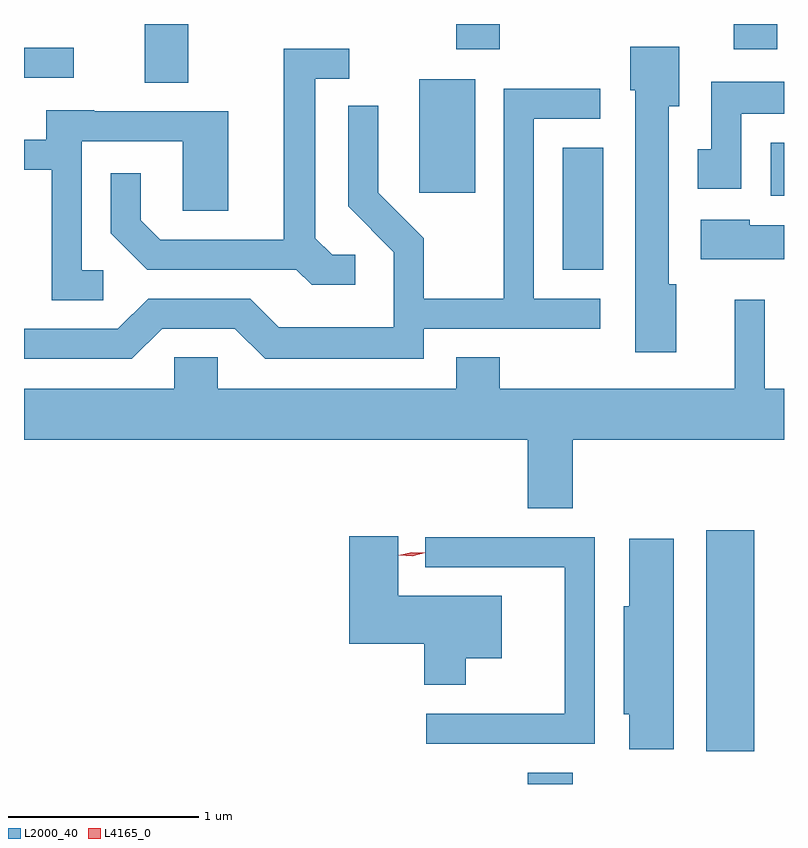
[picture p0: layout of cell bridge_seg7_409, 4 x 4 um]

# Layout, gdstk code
import gdstk
lib = gdstk.Library(unit=1e-6, precision=1e-09)
def R(c, l, rs):  # rectangles x0, y0, x1, y1
    for r in rs: c.add(gdstk.rectangle(r[:2], r[2:], *l))
def P(c, l, *ps):  # polygons
    for p in ps: c.add(gdstk.Polygon(p, *l))
L2000_40 = (2000, 40)
L4165_0 = (4165, 0)

bridge_seg7_409 = lib.new_cell('bridge_seg7_409')
R(bridge_seg7_409, L2000_40, [(1097.176,1716.944,1097.414,1717.004), (1098.116,1717.116,1098.369,1718.279), (1097.361,1719.651,1097.574,1720.294), (1098.456,1720.041,1098.525,1720.319), (1096.606,1720.056,1096.899,1720.654), (1095.161,1720.636,1095.389,1720.944), (1094.525,1720.661,1094.788,1720.819), (1096.801,1720.811,1097.029,1720.944), (1098.261,1720.811,1098.489,1720.944)])
P(bridge_seg7_409, L2000_40, [(1097.959,1719.574),(1097.919,1719.574),(1097.919,1720.511),(1097.974,1720.511),(1097.974,1720.824),(1097.716,1720.824),(1097.716,1720.596),(1097.741,1720.596),(1097.741,1719.216),(1097.959,1719.216)],
  [(1096.268,1719.729),(1096.147,1719.729),(1096.059,1719.817),(1096.059,1720.656),(1096.238,1720.656),(1096.238,1720.814),(1095.891,1720.814),(1095.891,1719.809),(1095.242,1719.809),(1095.139,1719.912),(1095.139,1720.158),(1094.981,1720.158),(1094.981,1719.844),(1095.174,1719.651),(1095.959,1719.651),(1096.039,1719.571),(1096.268,1719.571)],
  [(1098.299,1720.471),(1098.525,1720.471),(1098.525,1720.639),(1098.141,1720.639),(1098.141,1720.284),(1098.071,1720.284),(1098.071,1720.076),(1098.299,1720.076)],
  [(1095.252,1719.341),(1095.634,1719.341),(1095.794,1719.181),(1096.629,1719.181),(1096.629,1719.341),(1097.558,1719.341),(1097.558,1719.499),(1097.209,1719.499),(1097.209,1720.446),(1097.558,1720.446),(1097.558,1720.604),(1097.051,1720.604),(1097.051,1719.499),(1096.629,1719.499),(1096.629,1719.817),(1096.389,1720.057),(1096.389,1720.513),(1096.231,1720.513),(1096.231,1719.984),(1096.471,1719.744),(1096.471,1719.349),(1095.867,1719.349),(1095.717,1719.499),(1095.179,1719.499),(1095.019,1719.339),(1094.525,1719.339),(1094.525,1719.181),(1095.092,1719.181)],
  [(1094.943,1719.649),(1094.829,1719.649),(1094.829,1720.326),(1095.361,1720.326),(1095.361,1719.961),(1095.599,1719.961),(1095.599,1720.484),(1094.895,1720.484),(1094.895,1720.489),(1094.641,1720.489),(1094.641,1720.334),(1094.525,1720.334),(1094.525,1720.176),(1094.671,1720.176),(1094.671,1719.491),(1094.943,1719.491)],
  [(1098.525,1719.884),(1098.344,1719.884),(1098.344,1719.914),(1098.086,1719.914),(1098.086,1719.706),(1098.525,1719.706)],
  [(1097.414,1718.756),(1098.525,1718.756),(1098.525,1719.024),(1098.424,1719.024),(1098.424,1719.493),(1098.266,1719.493),(1098.266,1719.024),(1097.029,1719.024),(1097.029,1719.189),(1096.801,1719.189),(1096.801,1719.024),(1095.544,1719.024),(1095.544,1719.189),(1095.316,1719.189),(1095.316,1719.024),(1094.525,1719.024),(1094.525,1718.756),(1097.176,1718.756),(1097.176,1718.396),(1097.414,1718.396)],
  [(1096.849,1717.606),(1097.039,1717.606),(1097.039,1717.934),(1096.494,1717.934),(1096.494,1718.249),(1096.236,1718.249),(1096.236,1717.681),(1096.631,1717.681),(1096.631,1717.466),(1096.849,1717.466)],
  [(1097.529,1718.244),(1096.638,1718.244),(1096.638,1718.086),(1097.371,1718.086),(1097.371,1717.314),(1096.643,1717.314),(1096.643,1717.156),(1097.529,1717.156)],
  [(1097.944,1718.234),(1097.711,1718.234),(1097.711,1717.879),(1097.681,1717.879),(1097.681,1717.311),(1097.711,1717.311),(1097.711,1717.126),(1097.944,1717.126)])
P(bridge_seg7_409, L4165_0, [(1096.568,1718.144),(1096.498,1718.147),(1096.498,1718.148),(1096.498,1718.148),(1096.566,1718.164),(1096.636,1718.161),(1096.636,1718.161),(1096.636,1718.16)],
  [(1096.568,1718.145),(1096.501,1718.148),(1096.5,1718.149),(1096.501,1718.149),(1096.565,1718.165),(1096.632,1718.162),(1096.632,1718.161),(1096.632,1718.161)])

lib.write_gds('bridge_seg7_409.gds')
